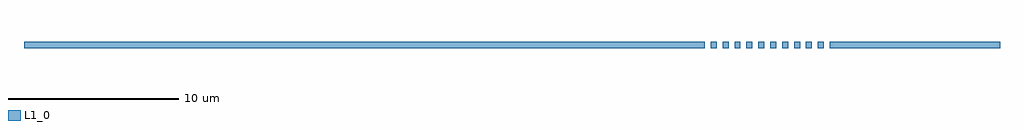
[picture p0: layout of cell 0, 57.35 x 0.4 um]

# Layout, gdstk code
import gdstk
lib = gdstk.Library(unit=1e-6, precision=1e-09)
def R(c, l, rs):  # rectangles x0, y0, x1, y1
    for r in rs: c.add(gdstk.rectangle(r[:2], r[2:], *l))
def A(c, l, x, y, w, h, nx, ny, dx, dy):  # array of equal rectangles
    R(c, l, [(x+i*dx, y+j*dy, x+i*dx+w, y+j*dy+h) for i in range(nx) for j in range(ny)])
L1_0 = (1, 0)

c_0 = lib.new_cell('0')
A(c_0, L1_0, 11.675, -0.2, 0.35, 0.4, 10, 1, 0.7, 0)
R(c_0, L1_0, [(-28.675,-0.2,11.325,0.2), (18.675,-0.2,28.675,0.2)])

lib.write_gds('0.gds')
